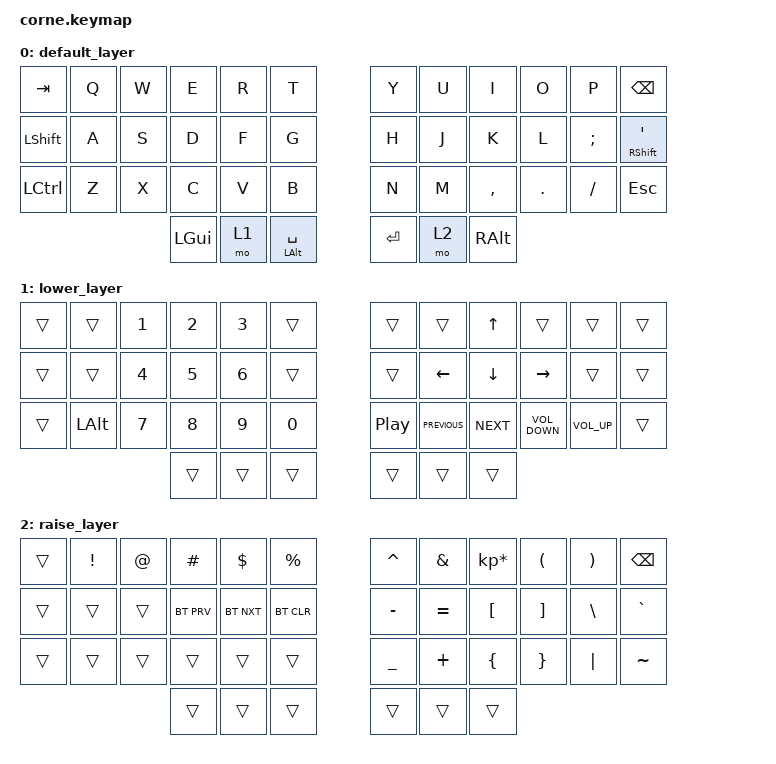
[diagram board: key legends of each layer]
/*
 * Copyright (c) 2020 The ZMK Contributors
 *
 * SPDX-License-Identifier: MIT
 */

#include <behaviors.dtsi>
#include <dt-bindings/zmk/bt.h>
#include <dt-bindings/zmk/keys.h>

/ {
    keymap {
        compatible = "zmk,keymap";

        default_layer {
            // -----------------------------------------------------------------------------------------
            // |  TAB |  Q  |  W  |  E  |  R  |  T  |   |  Y  |  U   |  I  |  O  |  P  | BKSP |
            // | CTRL |  A  |  S  |  D  |  F  |  G  |   |  H  |  J   |  K  |  L  |  ;  |  '   |
            // | SHFT |  Z  |  X  |  C  |  V  |  B  |   |  N  |  M   |  ,  |  .  |  /  | ESC  |
            //                    | GUI | LWR | SPC |   | ENT | RSE  | ALT |

            bindings = <
&kp TAB           &kp Q  &kp W  &kp E     &kp R  &kp T                 &kp Y    &kp U  &kp I      &kp O    &kp P     &kp BSPC
&kp LSHFT         &kp A  &kp S  &kp D     &kp F  &kp G                 &kp H    &kp J  &kp K      &kp L    &kp SEMI  &mt RIGHT_SHIFT APOS
&kp LEFT_CONTROL  &kp Z  &kp X  &kp C     &kp V  &kp B                 &kp N    &kp M  &kp COMMA  &kp DOT  &kp FSLH  &kp ESC
                                &kp LGUI  &mo 1  &mt LEFT_ALT SPACE    &kp RET  &mo 2  &kp RALT
            >;
        };

        lower_layer {
            // -----------------------------------------------------------------------------------------
            // |  TAB |  1  |  2  |  3  |  4  |  5  |   |  6  |  7  |  8  |  9  |  0  | BKSP |
            // | BTCLR| BT1 | BT2 | BT3 | BT4 | BT5 |   | LFT | DWN |  UP | RGT |     |      |
            // | SHFT |     |     |     |     |     |   |     |     |     |     |     |      |
            //                    | GUI |     | SPC |   | ENT |     | ALT |

            bindings = <
&trans  &trans        &kp N1  &kp N2  &kp N3  &trans    &trans            &trans          &kp UP      &trans             &trans           &trans
&trans  &trans        &kp N4  &kp N5  &kp N6  &trans    &trans            &kp LEFT        &kp DOWN    &kp RIGHT          &trans           &trans
&trans  &kp LEFT_ALT  &kp N7  &kp N8  &kp N9  &kp N0    &kp C_PLAY_PAUSE  &kp C_PREVIOUS  &kp C_NEXT  &kp C_VOLUME_DOWN  &kp C_VOLUME_UP  &trans
                              &trans  &trans  &trans    &trans            &trans          &trans
            >;
        };

        raise_layer {
            // -----------------------------------------------------------------------------------------
            // |  TAB |  !  |  @  |  #  |  $  |  %  |   |  ^  |  &  |  *  |  (  |  )  | BKSP |
            // | CTRL |     |     |     |     |     |   |  -  |  =  |  [  |  ]  |  \  |  `   |
            // | SHFT |     |     |     |     |     |   |  _  |  +  |  {  |  }  | "|" |  ~   |
            //                    | GUI |     | SPC |   | ENT |     | ALT |

            bindings = <
&trans  &kp EXCL  &kp AT  &kp HASH    &kp DLLR    &kp PRCNT     &kp CARET  &kp AMPS   &kp KP_MULTIPLY  &kp LPAR  &kp RPAR  &kp BSPC
&trans  &trans    &trans  &bt BT_PRV  &bt BT_NXT  &bt BT_CLR    &kp MINUS  &kp EQUAL  &kp LBKT         &kp RBKT  &kp BSLH  &kp GRAVE
&trans  &trans    &trans  &trans      &trans      &trans        &kp UNDER  &kp PLUS   &kp LBRC         &kp RBRC  &kp PIPE  &kp TILDE
                          &trans      &trans      &trans        &trans     &trans     &trans
            >;
        };
    };
};
